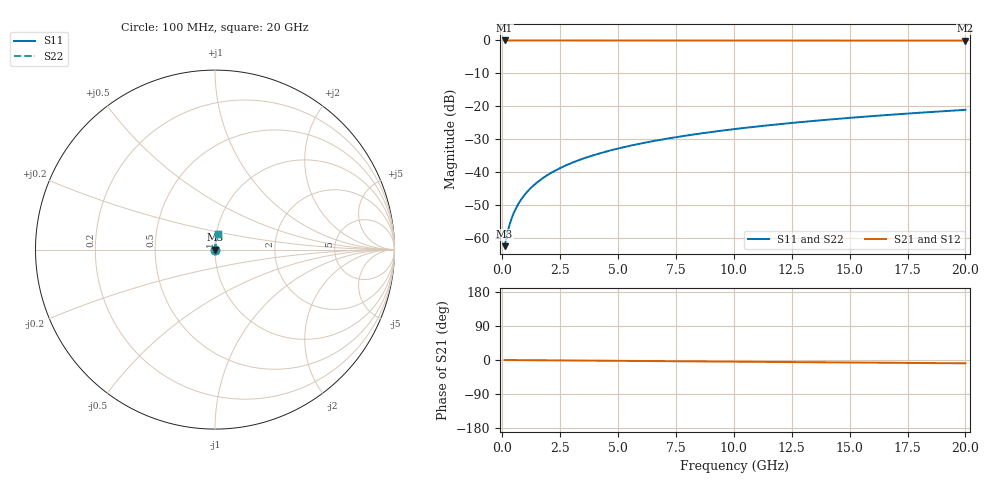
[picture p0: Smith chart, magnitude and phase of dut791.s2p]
! Touchstone file exported from HFSS 2026.1.0
!  File:  C:/ffzhzh/LocalFiles/Ansys_Project_Files/temp_train_TSV_791_1783183860_18472.aedt
!  Generated:  12:53:06 AM Jul  5, 2026
!  Design:  TSV
!  Project:  temp_train_TSV_791_1783183860_18472
! Variables:
!  h_bsmrdl = 2um
!  h_ox = 20um
!  h_rdl = 5um
!  h_sub = 67.3um
!  h_tmrdl = 5um
!  h_tsv = 67.3um
!  h_via = 3um
!  l_bsmrdl = 300um
!  l_sub = 407.46um
!  l_tmrdl = 200um
!  m_sub = 200um
!  pitch = 42.98um
!  r_tsv = 3.73um
!  s_tmrdl = 10um
!  w_bsmrdl = 18um
!  w_sub = 500um
!  w_tmrdl = 12um
!  x_tsv_center1 = 206um
!  x_tsv_center2 = 524um
!  x_tsv_center3 = 736um
!  x_tsv_center4 = 1054um
!  x_tsv_center5 = 1266um
!  x_tsv_center6 = 1584um
# GHz S MA R 50.000000
! Terminal data exported
! Port[1] = TSV1_1_T1
! Port[2] = TSV1_1_T2
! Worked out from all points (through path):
!   200 points, 100 MHz to 20 GHz, reference 50 ohm
!   highest |S21| = -0.01 dB at 100 MHz (marker M1); lowest = -0.1 dB at 20 GHz (marker M2)
!   group delay of S21, straight-line fit = 1.21 ps
!   lowest |S11| = -62.5 dB at 100 MHz (marker M3), VSWR 1.00, Z = 50.1 + j0.0477 ohm
!   |S11| at or under -10 dB: start of sweep to end of sweep
!   |S22| runs from -62.5 to -21.1 dB; largest |S21 - S12| = 3.8e-15
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0.1  0.0007539 39.2  0.9994 -0.0  0.9994 -0.0  0.0007539 39.2
! Gamma 0 0 0 0
! Port Impedance 50 0 50 0
0.2  0.001119 57.9  0.9994 -0.1  0.9994 -0.1  0.001119 57.9
0.3  0.00154 66.8  0.9994 -0.1  0.9994 -0.1  0.00154 66.8
0.4  0.001979 71.8  0.9994 -0.2  0.9994 -0.2  0.001979 71.8
0.5  0.002424 74.9  0.9994 -0.2  0.9994 -0.2  0.002424 74.9
0.6  0.002875 77.1  0.9994 -0.3  0.9994 -0.3  0.002875 77.1
0.8  0.003782 79.9  0.9993 -0.4  0.9993 -0.4  0.003782 79.9
1.1  0.005154 82.1  0.9993 -0.5  0.9993 -0.5  0.005154 82.1
1.5  0.006988 83.7  0.9993 -0.7  0.9993 -0.7  0.006988 83.7
1.8  0.008365 84.3  0.9992 -0.8  0.9992 -0.8  0.008365 84.3
2.1  0.009741 84.7  0.9992 -0.9  0.9992 -0.9  0.009741 84.7
2.7  0.01249 85.1  0.9991 -1.2  0.9991 -1.2  0.01249 85.1
3.5  0.01613 85.2  0.999 -1.6  0.999 -1.6  0.01613 85.2
4.2  0.01929 85.2  0.9988 -1.9  0.9988 -1.9  0.01929 85.2
5  0.02289 85.0  0.9986 -2.2  0.9986 -2.2  0.02289 85.0
5.9  0.02691 84.8  0.9984 -2.6  0.9984 -2.6  0.02691 84.8
6.8  0.03091 84.5  0.9982 -3.0  0.9982 -3.0  0.03091 84.5
8.3  0.03754 84.0  0.9978 -3.7  0.9978 -3.7  0.03754 84.0
10.1  0.04545 83.4  0.9973 -4.5  0.9973 -4.5  0.04545 83.4
13.4  0.05987 82.3  0.9963 -5.9  0.9963 -5.9  0.05987 82.3
16.7  0.0742 81.0  0.9951 -7.3  0.9951 -7.3  0.0742 81.0
20  0.08841 79.7  0.9937 -8.7  0.9937 -8.7  0.08841 79.7
